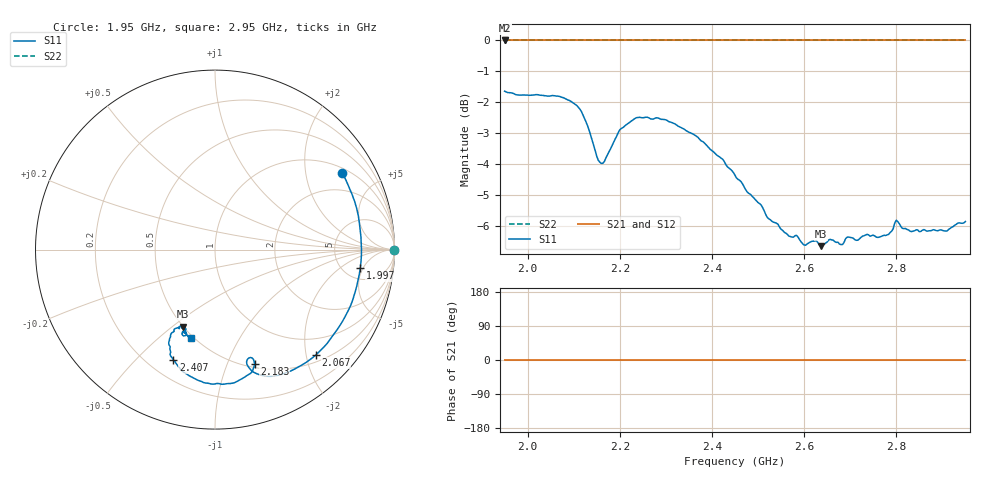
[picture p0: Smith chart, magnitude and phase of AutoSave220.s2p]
!Agilent N9923A: A.07.32
!Date: Thursday, 02 June 2016 03:37:35
!Model: N9923A
!Serial: MY52412257
!GPS Latitude:
!GPS Longitude:
!GPS TimeStamp: 0001-01-01 00:00:00Z
!GPS Seconds Since Last Read: 0
!CHECKSUM:1479734416
!Correction: S11(ON U)S21()S12()S22()
!S2P File: Measurements:S11,S21,S12,S22:
# Hz S DB R 50
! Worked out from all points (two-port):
!   301 points, 1.95 GHz to 2.95 GHz, reference 50 ohm
!   highest |S21| = 0.00 dB at 1.95 GHz (marker M1); lowest = 0.0 dB at 1.95 GHz (marker M2)
!   |S21| within 3 dB of the highest: start of sweep to end of sweep
!   lowest |S11| = -6.7 dB at 2.637 GHz (marker M3), VSWR 2.74, Z = 25 - j27.4 ohm
!   |S11| at or under -10 dB: nowhere
!   |S22| runs from 0.0 to 0.0 dB; largest |S21 - S12| = 0
!   S11 on the Smith chart (normalised r, x): 1.95 GHz: 1.19, +3.21; 1.997 GHz: 7.11, -4.40; 2.067 GHz: 0.63, -2.19; 2.183 GHz: 0.53, -1.26; 2.407 GHz: 0.30, -0.65; 2.95 GHz: 0.48, -0.64
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1.95e9  -1.64 30.9  0.00 0.0  0.00 0.0  0.00 0.0
1.97e9  -1.72 13.2  0.00 0.0  0.00 0.0  0.00 0.0
1.996667e9  -1.77 -7.3  0.00 0.0  0.00 0.0  0.00 0.0
2.03e9  -1.77 -27.9  0.00 0.0  0.00 0.0  0.00 0.0
2.066667e9  -1.80 -46.2  0.00 0.0  0.00 0.0  0.00 0.0
2.096667e9  -2.00 -59.1  0.00 0.0  0.00 0.0  0.00 0.0
2.12e9  -2.41 -68.4  0.00 0.0  0.00 0.0  0.00 0.0
2.146667e9  -3.57 -74.4  0.00 0.0  0.00 0.0  0.00 0.0
2.163333e9  -3.97 -71.8  0.00 0.0  0.00 0.0  0.00 0.0
2.183333e9  -3.40 -71.0  0.00 0.0  0.00 0.0  0.00 0.0
2.233333e9  -2.52 -81.3  0.00 0.0  0.00 0.0  0.00 0.0
2.286667e9  -2.53 -92.5  0.00 0.0  0.00 0.0  0.00 0.0
2.353333e9  -2.99 -103.4  0.00 0.0  0.00 0.0  0.00 0.0
2.406667e9  -3.66 -110.7  0.00 0.0  0.00 0.0  0.00 0.0
2.453333e9  -4.45 -114.6  0.00 0.0  0.00 0.0  0.00 0.0
2.52e9  -5.73 -117.1  0.00 0.0  0.00 0.0  0.00 0.0
2.62e9  -6.50 -113.2  0.00 0.0  0.00 0.0  0.00 0.0
2.636667e9  -6.66 -112.4  0.00 0.0  0.00 0.0  0.00 0.0
2.783333e9  -6.27 -109.6  0.00 0.0  0.00 0.0  0.00 0.0
2.8e9  -5.82 -110.0  0.00 0.0  0.00 0.0  0.00 0.0
2.846667e9  -6.13 -111.5  0.00 0.0  0.00 0.0  0.00 0.0
2.95e9  -5.86 -105.5  0.00 0.0  0.00 0.0  0.00 0.0
